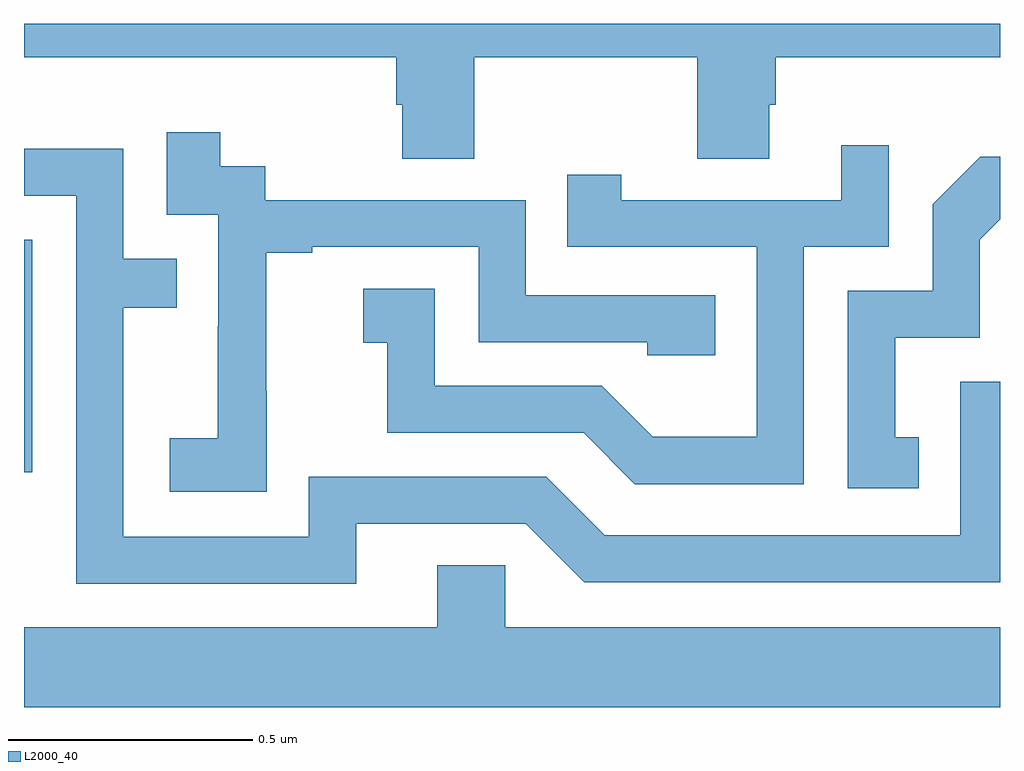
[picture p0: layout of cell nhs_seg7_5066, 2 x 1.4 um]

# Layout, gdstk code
import gdstk
lib = gdstk.Library(unit=1e-6, precision=1e-09)
def R(c, l, rs):  # rectangles x0, y0, x1, y1
    for r in rs: c.add(gdstk.rectangle(r[:2], r[2:], *l))
def P(c, l, *ps):  # polygons
    for p in ps: c.add(gdstk.Polygon(p, *l))
L2000_40 = (2000, 40)

nhs_seg7_5066 = lib.new_cell('nhs_seg7_5066')
R(nhs_seg7_5066, L2000_40, [(181,1017.081,181.017,1017.558)])
P(nhs_seg7_5066, L2000_40, [(181.923,1017.932),(182.38,1017.932),(182.38,1017.724),(182.527,1017.724),(182.527,1017.834),(182.54,1017.834),(182.54,1017.932),(183,1017.932),(183,1018),(181,1018),(181,1017.932),(181.763,1017.932),(181.763,1017.834),(181.775,1017.834),(181.775,1017.724),(181.923,1017.724)],
  [(181.497,1017.247),(181.496,1017.247),(181.496,1017.531),(181.591,1017.531),(181.591,1017.543),(181.932,1017.543),(181.932,1017.348),(182.277,1017.348),(182.277,1017.321),(182.417,1017.321),(182.417,1017.444),(182.028,1017.444),(182.028,1017.639),(181.494,1017.639),(181.494,1017.708),(181.402,1017.708),(181.402,1017.778),(181.293,1017.778),(181.293,1017.609),(181.398,1017.609),(181.398,1017.38),(181.397,1017.38),(181.397,1017.151),(181.299,1017.151),(181.299,1017.041),(181.497,1017.041)],
  [(182.598,1017.543),(182.772,1017.543),(182.772,1017.751),(182.675,1017.751),(182.675,1017.639),(182.224,1017.639),(182.224,1017.691),(182.113,1017.691),(182.113,1017.543),(182.502,1017.543),(182.502,1017.154),(182.288,1017.154),(182.184,1017.258),(181.842,1017.258),(181.842,1017.457),(181.695,1017.457),(181.695,1017.347),(181.744,1017.347),(181.744,1017.162),(182.147,1017.162),(182.252,1017.057),(182.598,1017.057)],
  [(181.681,1016.976),(182.028,1016.976),(182.148,1016.856),(183,1016.856),(183,1017.267),(182.919,1017.267),(182.919,1016.952),(182.19,1016.952),(182.07,1017.072),(181.584,1017.072),(181.584,1016.949),(181.203,1016.949),(181.203,1017.418),(181.313,1017.418),(181.313,1017.519),(181.203,1017.519),(181.203,1017.744),(181,1017.744),(181,1017.648),(181.107,1017.648),(181.107,1016.853),(181.681,1016.853)],
  [(182.834,1017.153),(182.785,1017.153),(182.785,1017.357),(182.958,1017.357),(182.958,1017.558),(183,1017.6),(183,1017.728),(182.96,1017.728),(182.862,1017.63),(182.862,1017.453),(182.688,1017.453),(182.688,1017.048),(182.834,1017.048)],
  [(183,1016.764),(181.986,1016.764),(181.986,1016.891),(181.847,1016.891),(181.847,1016.764),(181,1016.764),(181,1016.6),(183,1016.6)])

lib.write_gds('nhs_seg7_5066.gds')
